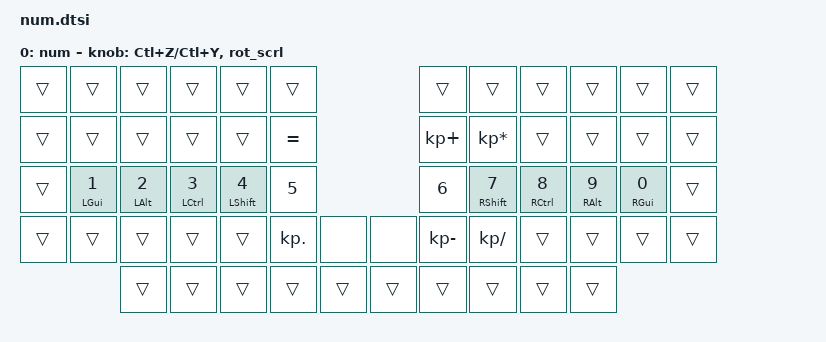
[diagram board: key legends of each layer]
/ {
    keymap {
        compatible = "zmk,keymap";
        
        num {
            display-name = "num";
            bindings = <
&trans         &trans          &trans          &trans         &trans          &trans                                       &trans          &trans          &trans        &trans          &trans            &trans
&trans         &trans          &trans          &trans         &trans          &kp EQUAL                                    &kp KP_PLUS     &kp KP_ASTERISK &trans        &trans          &trans            &trans
&trans         &hmls LGUI N1   &hmls LALT N2   &hmlf LCTRL N3 &hmlf LSHFT N4  &kp N5                                       &kp N6          &hmrf RSHFT N7  &hmrf RCTRL N8 &hmrs RALT N9  &hmrs RGUI N0     &trans
&trans         &trans          &trans          &trans         &trans          &kp KP_DOT         &none        &none        &kp KP_MINUS    &kp KP_SLASH    &trans        &trans          &trans            &trans
                               &trans          &trans         &trans          &trans             &trans       &trans       &trans          &trans          &trans        &trans
            >;

            sensor-bindings = <&inc_dec_kp LC(Z) LC(Y) &rot_scrl>;
        };
    };
};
